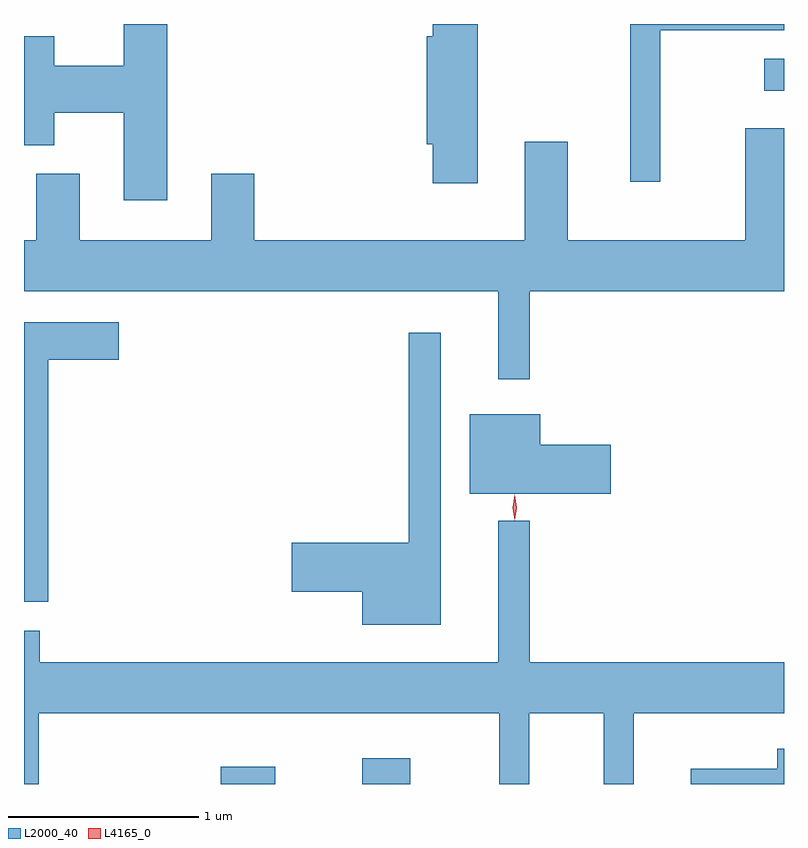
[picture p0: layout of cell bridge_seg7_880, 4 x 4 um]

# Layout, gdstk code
import gdstk
lib = gdstk.Library(unit=1e-6, precision=1e-09)
def R(c, l, rs):  # rectangles x0, y0, x1, y1
    for r in rs: c.add(gdstk.rectangle(r[:2], r[2:], *l))
def P(c, l, *ps):  # polygons
    for p in ps: c.add(gdstk.Polygon(p, *l))
L2000_40 = (2000, 40)
L4165_0 = (4165, 0)

bridge_seg7_880 = lib.new_cell('bridge_seg7_880')
R(bridge_seg7_880, L2000_40, [(466.151,1669.543,466.438,1669.634), (466.896,1669.543,467.149,1669.679), (469.013,1673.191,469.116,1673.359)])
P(bridge_seg7_880, L2000_40, [(465.869,1673.543),(465.641,1673.543),(465.641,1673.324),(465.274,1673.324),(465.274,1673.479),(465.116,1673.479),(465.116,1672.906),(465.274,1672.906),(465.274,1673.076),(465.641,1673.076),(465.641,1672.616),(465.869,1672.616)],
  [(467.504,1673.543),(467.266,1673.543),(467.266,1673.479),(467.236,1673.479),(467.236,1672.911),(467.266,1672.911),(467.266,1672.706),(467.504,1672.706)],
  [(468.464,1673.511),(469.116,1673.511),(469.116,1673.543),(468.306,1673.543),(468.306,1672.713),(468.464,1672.713)],
  [(467.779,1672.136),(469.116,1672.136),(469.116,1672.994),(468.911,1672.994),(468.911,1672.404),(467.979,1672.404),(467.979,1672.924),(467.751,1672.924),(467.751,1672.404),(466.329,1672.404),(466.329,1672.754),(466.101,1672.754),(466.101,1672.404),(465.409,1672.404),(465.409,1672.754),(465.181,1672.754),(465.181,1672.404),(465.116,1672.404),(465.116,1672.136),(467.611,1672.136),(467.611,1671.673),(467.779,1671.673)],
  [(465.244,1671.776),(465.614,1671.776),(465.614,1671.974),(465.116,1671.974),(465.116,1670.501),(465.244,1670.501)],
  [(467.309,1671.918),(467.141,1671.918),(467.141,1670.814),(466.526,1670.814),(466.526,1670.556),(466.896,1670.556),(466.896,1670.381),(467.309,1670.381)],
  [(468.204,1671.329),(467.834,1671.329),(467.834,1671.489),(467.461,1671.489),(467.461,1671.071),(468.204,1671.071)],
  [(465.194,1669.916),(467.616,1669.916),(467.616,1669.543),(467.774,1669.543),(467.774,1669.916),(468.166,1669.916),(468.166,1669.543),(468.324,1669.543),(468.324,1669.916),(469.116,1669.916),(469.116,1670.184),(467.779,1670.184),(467.779,1670.928),(467.611,1670.928),(467.611,1670.184),(465.199,1670.184),(465.199,1670.349),(465.116,1670.349),(465.116,1669.543),(465.194,1669.543)],
  [(469.116,1669.728),(469.081,1669.728),(469.081,1669.624),(468.626,1669.624),(468.626,1669.543),(469.116,1669.543)])
P(bridge_seg7_880, L4165_0, [(467.698,1670.93),(467.689,1670.998),(467.698,1671.065),(467.699,1671.066),(467.699,1671.065),(467.709,1670.998),(467.699,1670.93),(467.699,1670.93)],
  [(467.699,1670.933),(467.699,1670.933),(467.689,1670.996),(467.699,1671.059),(467.699,1671.06),(467.7,1671.059),(467.709,1670.996),(467.7,1670.933)])

lib.write_gds('bridge_seg7_880.gds')
